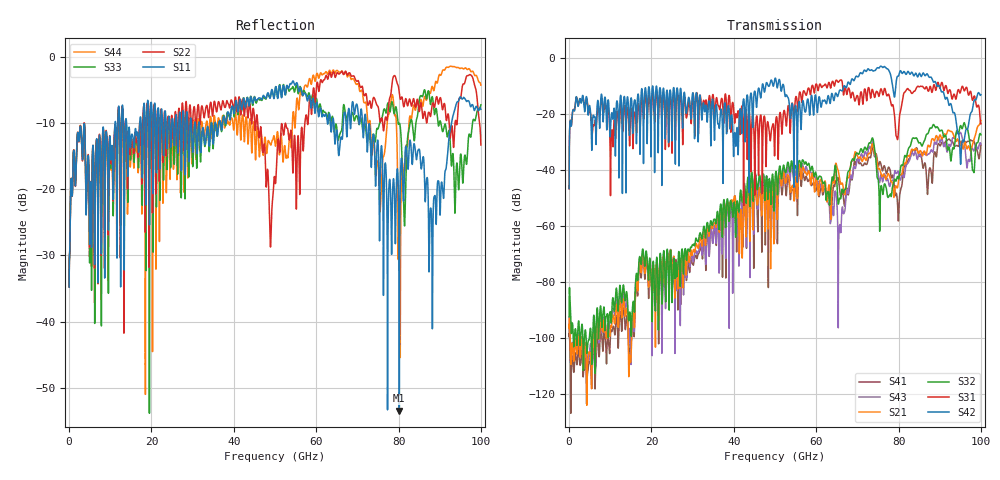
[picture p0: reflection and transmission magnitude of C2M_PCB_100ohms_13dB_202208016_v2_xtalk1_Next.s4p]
! Info: Touchstone file created by Circ.  Input file=Intel_C2M_200G_3p0in_202208016_staggered.circ
# Hz S RI R 50
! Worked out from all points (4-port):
!   10000 points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, 10 MHz to 100 GHz, reference 50 ohm
!   strongest paths, dB at 10 MHz, 25.01 GHz, 50.01 GHz, 75.01 GHz, 100 GHz:
!     S42: -46.6, -27.4, -7.2, -3.4, -13.0
!     S31: -46.7, -33.0, -28.1, -12.6, -23.5
!     S32: -92.4, -86.6, -43.6, -43.1, -27.4
!     S21: -95.4, -76.8, -45.2, -39.3, -22.3
!     S43: -95.2, -83.5, -49.1, -40.8, -30.7
!     S41: -96.5, -72.8, -49.5, -38.0, -31.1
!   lowest |S11| = -53.4 dB at 80.19 GHz (marker M1), VSWR 1.00, Z = 50.1 - j0.181 ohm
!   |S11| at or under -10 dB: start of sweep to 11.18 GHz; 13.95 GHz to 17.16 GHz (3.205 GHz wide, 20.6 % of centre); 72.14 GHz to 92.84 GHz (20.7 GHz wide, 25.1 % of centre)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
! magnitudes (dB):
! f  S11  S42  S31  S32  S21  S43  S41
! 10 MHz  -34.8  -46.6  -46.7  -92.4  -95.4  -95.2  -96.5
! 2.97 GHz  -11.8  -16.0  -15.4  -97.0  -102.2  -101.7  -106.4
! 49.03 GHz  -5.5  -7.9  -27.1  -52.0  -55.1  -53.1  -61.3
! 64.49 GHz  -12.8  -13.9  -9.8  -39.6  -42.6  -48.7  -45.8
! 80.19 GHz  -53.4  -5.4  -21.4  -42.3  -42.1  -42.6  -50.8
! 95.3 GHz  -6.3  -31.8  -10.5  -24.8  -29.8  -27.5  -30.1
! 100 GHz  -7.9  -13.0  -23.5  -27.4  -22.3  -30.7  -31.1
